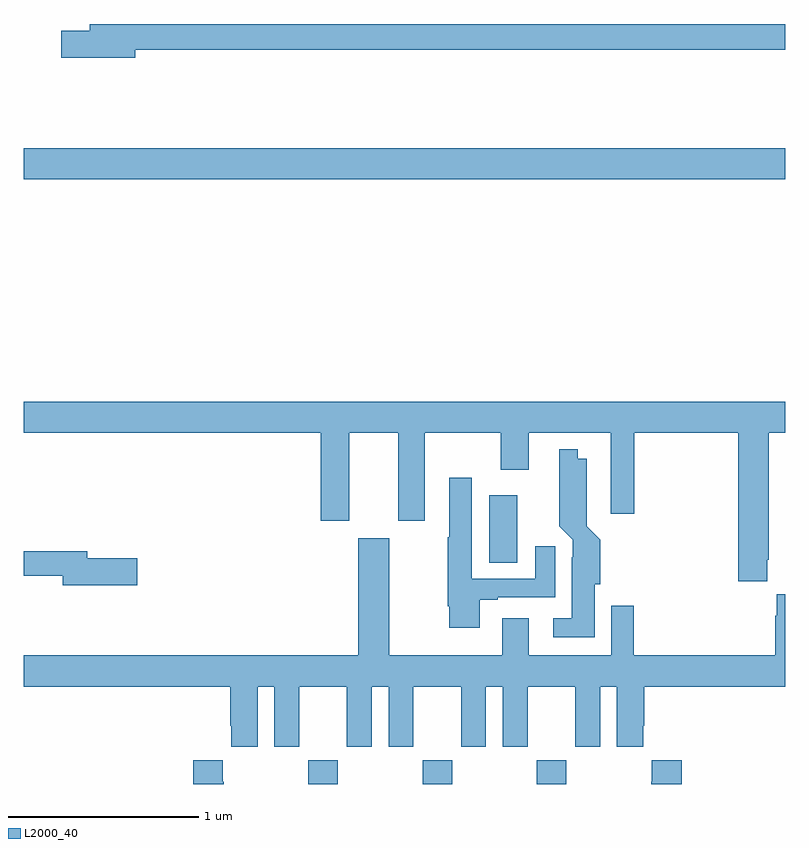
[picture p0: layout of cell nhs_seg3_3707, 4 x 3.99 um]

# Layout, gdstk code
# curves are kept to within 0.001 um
import gdstk
lib = gdstk.Library(unit=1e-6, precision=1e-09)
def R(c, l, rs):  # rectangles x0, y0, x1, y1
    for r in rs: c.add(gdstk.rectangle(r[:2], r[2:], *l))
def A(c, l, x, y, w, h, nx, ny, dx, dy):  # array of equal rectangles
    R(c, l, [(x+i*dx, y+j*dy, x+i*dx+w, y+j*dy+h) for i in range(nx) for j in range(ny)])
def P(c, l, *ps):  # polygons
    for p in ps: c.add(gdstk.Polygon(p, *l))
L2000_40 = (2000, 40)

nhs_seg3_3707 = lib.new_cell('nhs_seg3_3707')
A(nhs_seg3_3707, L2000_40, 304.495, 704.4, 0.155, 0.124, 3, 1, 0.6, 0)
R(nhs_seg3_3707, L2000_40, [(305.444,705.562,305.593,705.916), (303,707.576,307,707.74)])
P(nhs_seg3_3707, L2000_40, [(303.586,708.256),(307,708.256),(307,708.392),(303.347,708.392),(303.347,708.356),(303.198,708.356),(303.198,708.214),(303.586,708.214)],
  [(306.905,705.577),(306.912,705.577),(306.912,706.244),(307,706.244),(307,706.408),(303,706.408),(303,706.244),(304.559,706.244),(304.559,705.783),(304.711,705.783),(304.711,706.244),(304.967,706.244),(304.967,705.783),(305.107,705.783),(305.107,706.244),(305.506,706.244),(305.506,706.05),(305.653,706.05),(305.653,706.244),(306.083,706.244),(306.083,705.819),(306.206,705.819),(306.206,706.244),(306.752,706.244),(306.752,705.465),(306.905,705.465)],
  [(305.998,705.45),(306.029,705.45),(306.029,705.682),(305.957,705.754),(305.956,706.108),(305.911,706.108),(305.911,706.159),(305.814,706.159),(305.813,705.754),(305.883,705.684),(305.883,705.59),(305.879,705.59),(305.879,705.271),(305.781,705.271),(305.781,705.17),(305.998,705.17)],
  [(305.395,705.369),(305.491,705.369),(305.491,705.381),(305.791,705.381),(305.791,705.649),(305.687,705.649),(305.687,705.477),(305.353,705.477),(305.353,706.009),(305.234,706.009),(305.234,705.695),(305.227,705.695),(305.227,705.334),(305.234,705.334),(305.234,705.222),(305.395,705.222)],
  [(304.228,704.912),(304.316,704.912),(304.316,704.595),(304.447,704.595),(304.447,704.912),(304.697,704.912),(304.697,704.595),(304.828,704.595),(304.828,704.912),(304.916,704.912),(304.916,704.595),(305.047,704.595),(305.047,704.912),(305.297,704.912),(305.297,704.595),(305.428,704.595),(305.428,704.912),(305.516,704.912),(305.516,704.595),(305.647,704.595),(305.647,704.912),(305.897,704.912),(305.897,704.595),(306.028,704.595),(306.028,704.912),(306.116,704.912),(306.116,704.595),(306.253,704.595),(306.253,704.707),(306.26,704.707),(306.26,704.912),(307,704.912),(307,705.397),(306.956,705.397),(306.956,705.284),(306.947,705.284),(306.947,705.076),(306.203,705.076),(306.203,705.337),(306.087,705.337),(306.087,705.076),(305.653,705.076),(305.653,705.271),(305.513,705.271),(305.513,705.076),(304.921,705.076),(304.921,705.691),(304.757,705.691),(304.757,705.076),(303,705.076),(303,704.912),(304.085,704.912),(304.085,704.707),(304.091,704.707),(304.091,704.595),(304.228,704.595)],
  [(303.595,705.587),(303.334,705.587),(303.334,705.623),(303,705.623),(303,705.495),(303.206,705.495),(303.206,705.445),(303.595,705.445)],
  [(306.455,704.524),(306.299,704.524),(306.299,704.411),(306.295,704.411),(306.295,704.4),(306.455,704.4)],
  [(304.05,704.411),(304.045,704.411),(304.045,704.524),(303.89,704.524),(303.89,704.4),(304.05,704.4)])

lib.write_gds('nhs_seg3_3707.gds')
